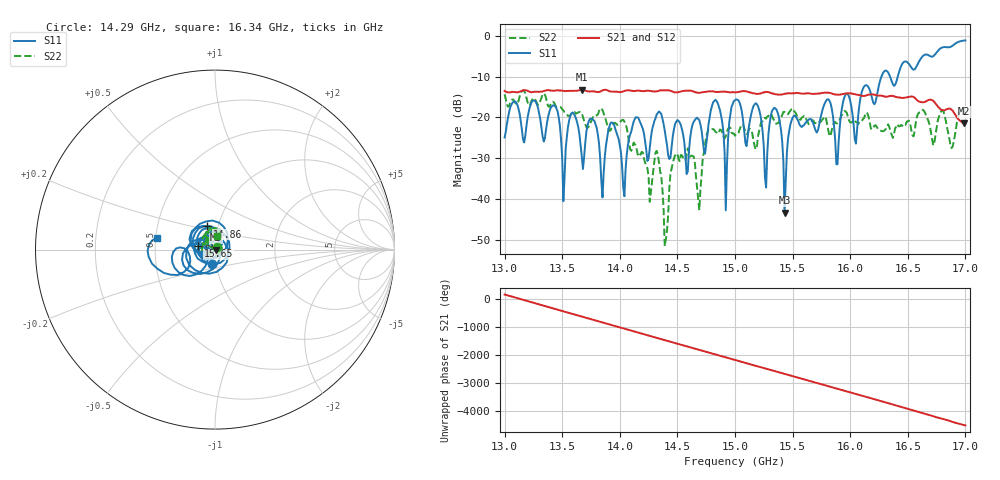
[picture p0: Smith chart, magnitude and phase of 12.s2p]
!Keysight Technologies,P9374A,MY57211807,A.19.30.04
!Date: Friday, May 01, 2026 14:48:05
!Correction: S11(C  2-Port  )
!S21(C  2-Port  )
!S12(C  2-Port  )
!S22(C  2-Port  )
!S2P File: Measurements: S11, S21, S12, S22:
# Hz S  RI  R 50
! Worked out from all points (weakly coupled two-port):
!   401 points, 13 GHz to 17 GHz, reference 50 ohm
!   highest |S21| = -13.17 dB at 13.67 GHz (marker M1); lowest = -21.5 dB at 16.99 GHz (marker M2)
!   lowest |S11| = -43.3 dB at 15.43 GHz (marker M3), VSWR 1.01, Z = 50.7 - j0.00215 ohm
!   |S11| at or under -10 dB: start of sweep to 16.27 GHz; 16.34599 GHz to 16.41274 GHz (66.75 MHz wide, 0.408 % of centre)
!   |S22| runs from -51.5 to -13.4 dB; largest |S21 - S12| = 0.0049
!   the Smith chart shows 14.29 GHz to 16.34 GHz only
!   S11 on the Smith chart (normalised r, x): 14.29 GHz: 0.95, -0.15; 14.86 GHz: 0.89, +0.23; 15.65 GHz: 0.83, +0.03; 16.34 GHz: 0.51, +0.08
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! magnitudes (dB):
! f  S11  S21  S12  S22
! 13 GHz  -24.9  -13.5  -13.5  -14.4
! 13.26 GHz  -15.8  -13.7  -13.7  -15.3
! 13.67 GHz  -29.5  -13.2  -13.1  -19.0
! 14.29 GHz  -21.9  -13.6  -13.6  -33.4
! 14.34 GHz  -18.5  -13.5  -13.5  -31.2
! 14.4 GHz  -25.1  -13.4  -13.4  -49.8
! 14.48 GHz  -21.6  -13.9  -13.8  -29.3
! 14.69 GHz  -20.6  -14.0  -14.0  -42.7
! 14.86 GHz  -17.3  -13.8  -13.8  -23.6
! 14.92 GHz  -42.7  -13.7  -13.7  -24.6
! 15 GHz  -15.8  -13.8  -13.8  -24.5
! 15.27 GHz  -37.2  -13.7  -13.7  -20.3
! 15.36 GHz  -18.1  -14.3  -14.3  -21.6
! 15.43 GHz  -43.3  -14.2  -14.2  -18.6
! 15.65 GHz  -20.4  -14.1  -14.1  -21.4
! 15.67 GHz  -20.8  -14.2  -14.2  -20.8
! 15.89 GHz  -31.4  -14.4  -14.4  -21.4
! 15.96 GHz  -14.4  -14.1  -14.1  -18.5
! 16.05 GHz  -26.4  -14.4  -14.4  -21.1
! 16.34 GHz  -9.6  -14.8  -14.7  -22.4
! 16.99 GHz  -1.2  -21.5  -21.5  -18.5
! 17 GHz  -1.1  -21.4  -21.5  -19.6
